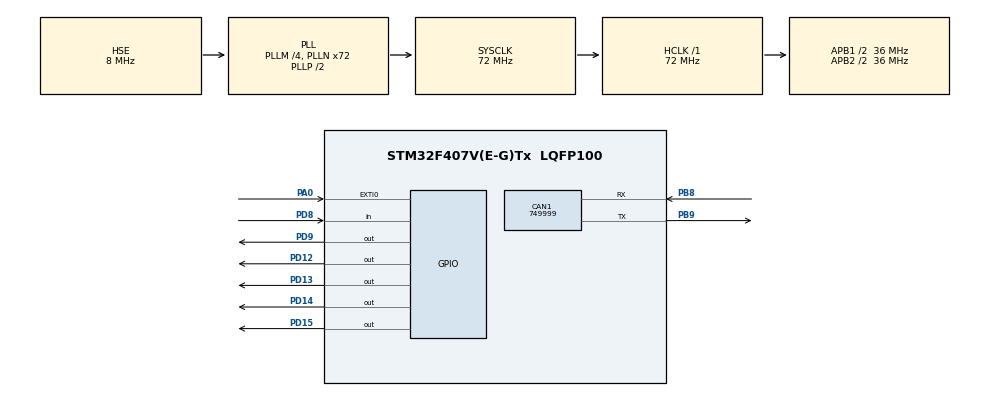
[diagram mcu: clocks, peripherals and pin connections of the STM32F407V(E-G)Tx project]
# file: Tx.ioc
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CAN1.CalculateBaudRate=749999
CAN1.CalculateTimeBit=1333
CAN1.CalculateTimeQuantum=444.44444444444446
Mcu.Family=STM32F4
Mcu.Name=STM32F407V(E-G)Tx
Mcu.Package=LQFP100
NVIC.CAN1_RX0_IRQn=true\:0\:0\:false\:false\:true\:true\:true\:true
NVIC.EXTI0_IRQn=true\:0\:0\:false\:false\:true\:true\:true\:true
NVIC.PriorityGroup=NVIC_PRIORITYGROUP_0
PA0-WKUP.Signal=GPXTI0
PA13.Mode=Serial_Wire
PA13.Signal=SYS_JTMS-SWDIO
PA14.Mode=Serial_Wire
PA14.Signal=SYS_JTCK-SWCLK
PB8.Mode=CAN_Activate
PB8.Signal=CAN1_RX
PB9.Mode=CAN_Activate
PB9.Signal=CAN1_TX
PD12.Signal=GPIO_Output
PD13.Signal=GPIO_Output
PD14.Signal=GPIO_Output
PD15.Signal=GPIO_Output
PD8.Signal=GPIO_Input
PD9.Signal=GPIO_Output
PH0-OSC_IN.Mode=HSE-External-Oscillator
PH0-OSC_IN.Signal=RCC_OSC_IN
PH1-OSC_OUT.Mode=HSE-External-Oscillator
PH1-OSC_OUT.Signal=RCC_OSC_OUT
ProjectManager.HeapSize=0x200
ProjectManager.StackSize=0x400
ProjectManager.TargetToolchain=STM32CubeIDE
RCC.48MHZClocksFreq_Value=20571428.57142857
RCC.AHBFreq_Value=72000000
RCC.APB1CLKDivider=RCC_HCLK_DIV2
RCC.APB1Freq_Value=36000000
RCC.APB1TimFreq_Value=72000000
RCC.APB2CLKDivider=RCC_HCLK_DIV2
RCC.APB2Freq_Value=36000000
RCC.APB2TimFreq_Value=72000000
RCC.CortexFreq_Value=72000000
RCC.HCLKFreq_Value=72000000
RCC.HSE_VALUE=8000000
RCC.HSI_VALUE=16000000
RCC.LSE_VALUE=32768
RCC.PLLM=4
RCC.PLLN=72
RCC.PLLQ=7
RCC.PLLSourceVirtual=RCC_PLLSOURCE_HSE
RCC.SYSCLKFreq_VALUE=72000000
RCC.SYSCLKSource=RCC_SYSCLKSOURCE_PLLCLK
RCC.VCOOutputFreq_Value=144000000
VP_TIM1_VS_ClockSourceINT.Mode=Internal
board=STM32F407G-DISC1

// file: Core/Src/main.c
/* USER CODE BEGIN Header */
/**
  ******************************************************************************
  * @file           : main.c
  * @brief          : Main program body
  ******************************************************************************
  * @attention
  *
  * Copyright (c) 2023 STMicroelectronics.
  * All rights reserved.
  *
  * This software is licensed under terms that can be found in the LICENSE file
  * in the root directory of this software component.
  * If no LICENSE file comes with this software, it is provided AS-IS.
  *
  ******************************************************************************
  */
/* USER CODE END Header */
#include "main.h"

/* USER CODE BEGIN Includes */
#include <stdio.h>
/* USER CODE END Includes */

/* USER CODE BEGIN PTD */
#define usTIM	TIM1
/* USER CODE END PTD */

CAN_HandleTypeDef hcan1;

TIM_HandleTypeDef htim1;

void SystemClock_Config(void);
static void MX_GPIO_Init(void);
static void MX_CAN1_Init(void);
static void MX_TIM1_Init(void);

/* USER CODE BEGIN 0 */
int Switch_Flag = 0;
CAN_TxHeaderTypeDef TxHeader;
uint8_t TxData[2];
uint32_t TxMailBox;

uint32_t numTicks = 0;

const float SpeedofSound = 0.0343/2;
float distance;

void usDelay(uint32_t uSec)
{
	if(uSec < 2) uSec = 2;
	usTIM->ARR = uSec - 1; 	/*sets the value in the auto-reload register*/
	usTIM->EGR = 1; 			/*Re-initialises the timer*/
	usTIM->SR &= ~1; 		//Resets the flag
	usTIM->CR1 |= 1; 		//Enables the counter
	while((usTIM->SR&0x0001) != 1);
	usTIM->SR &= ~(0x0001);
}

HC_SR04_Read()
{
	//Set TRIG to LOW for few uSec
	HAL_GPIO_WritePin(GPIOD, GPIO_PIN_9, GPIO_PIN_RESET);
	usDelay(3);

	//*** START Ultrasonic measure routine ***//
	//1. Output 10 usec TRIG
	HAL_GPIO_WritePin(GPIOD, GPIO_PIN_9, GPIO_PIN_SET);
	usDelay(10);
	HAL_GPIO_WritePin(GPIOD, GPIO_PIN_9, GPIO_PIN_RESET);

	//2. Wait for ECHO pin rising edge
	while(HAL_GPIO_ReadPin(GPIOD, GPIO_PIN_8) == GPIO_PIN_RESET);

	//3. Start measuring ECHO pulse width in usec
	numTicks = 0;
	while(HAL_GPIO_ReadPin(GPIOD, GPIO_PIN_8) == GPIO_PIN_SET)
	{
		numTicks++;
		usDelay(2); //2.8usec
	};

	distance = (numTicks + 0.0f)*2.8*SpeedofSound;
}

void HAL_GPIO_EXTI_Callback(uint16_t GPIO_Pin){
	Switch_Flag = 1;
	HAL_GPIO_WritePin(GPIOD, GPIO_PIN_14, GPIO_PIN_SET);
//	HAL_Delay(1000);
//	HAL_GPIO_WritePin(GPIOD, GPIO_PIN_14, GPIO_PIN_RESET);
//	Switch_Flag = 0;
}

/* USER CODE END 0 */

int main(void)
{

  /* MCU Configuration--------------------------------------------------------*/

  /* Reset of all peripherals, Initializes the Flash interface and the Systick. */
  HAL_Init();

  /* Configure the system clock */
  SystemClock_Config();

  /* Initialize all configured peripherals */
  MX_GPIO_Init();
  MX_CAN1_Init();
  MX_TIM1_Init();
  /* USER CODE BEGIN 2 */
  HAL_CAN_Start(&hcan1);
  HAL_CAN_ActivateNotification(&hcan1, CAN_IT_RX_FIFO0_MSG_PENDING);
  HAL_Delay(100);
  HAL_Delay(100);

  TxHeader.DLC=4;
  TxHeader.RTR=CAN_RTR_DATA;
  TxHeader.IDE=CAN_ID_STD;
  TxHeader.ExtId=0x0;
  TxHeader.StdId=0x0AA;
  TxHeader.TransmitGlobalTime=DISABLE;
  /* USER CODE END 2 */

  /* Infinite loop */
  /* USER CODE BEGIN WHILE */
  while (1)
  {
	  	  	  if(Switch_Flag == 1){
	  	  		TxData[0] = distance;	//yellow
	  	  		if (HAL_CAN_AddTxMessage(&hcan1, &TxHeader, TxData, &TxMailBox) != HAL_OK)
	  	  			Error_Handler();
	  	  		HAL_GPIO_WritePin(GPIOD, GPIO_PIN_12, GPIO_PIN_SET);
	  	  		}
    /* USER CODE END WHILE */

  }
}

void SystemClock_Config(void)
{
  RCC_OscInitTypeDef RCC_OscInitStruct = {0};
  RCC_ClkInitTypeDef RCC_ClkInitStruct = {0};

  /** Configure the main internal regulator output voltage
  */
  __HAL_RCC_PWR_CLK_ENABLE();
  __HAL_PWR_VOLTAGESCALING_CONFIG(PWR_REGULATOR_VOLTAGE_SCALE1);

  /** Initializes the RCC Oscillators according to the specified parameters
  * in the RCC_OscInitTypeDef structure.
  */
  RCC_OscInitStruct.OscillatorType = RCC_OSCILLATORTYPE_HSE;
  RCC_OscInitStruct.HSEState = RCC_HSE_ON;
  RCC_OscInitStruct.PLL.PLLState = RCC_PLL_ON;
  RCC_OscInitStruct.PLL.PLLSource = RCC_PLLSOURCE_HSE;
  RCC_OscInitStruct.PLL.PLLM = 4;
  RCC_OscInitStruct.PLL.PLLN = 72;
  RCC_OscInitStruct.PLL.PLLP = RCC_PLLP_DIV2;
  RCC_OscInitStruct.PLL.PLLQ = 7;
  if (HAL_RCC_OscConfig(&RCC_OscInitStruct) != HAL_OK)
  {
    Error_Handler();
  }

  /** Initializes the CPU, AHB and APB buses clocks
  */
  RCC_ClkInitStruct.ClockType = RCC_CLOCKTYPE_HCLK|RCC_CLOCKTYPE_SYSCLK
                              |RCC_CLOCKTYPE_PCLK1|RCC_CLOCKTYPE_PCLK2;
  RCC_ClkInitStruct.SYSCLKSource = RCC_SYSCLKSOURCE_PLLCLK;
  RCC_ClkInitStruct.AHBCLKDivider = RCC_SYSCLK_DIV1;
  RCC_ClkInitStruct.APB1CLKDivider = RCC_HCLK_DIV2;
  RCC_ClkInitStruct.APB2CLKDivider = RCC_HCLK_DIV2;

  if (HAL_RCC_ClockConfig(&RCC_ClkInitStruct, FLASH_LATENCY_2) != HAL_OK)
  {
    Error_Handler();
  }
}

static void MX_CAN1_Init(void)
{

  hcan1.Instance = CAN1;
  hcan1.Init.Prescaler = 16;
  hcan1.Init.Mode = CAN_MODE_NORMAL;
  hcan1.Init.SyncJumpWidth = CAN_SJW_1TQ;
  hcan1.Init.TimeSeg1 = CAN_BS1_1TQ;
  hcan1.Init.TimeSeg2 = CAN_BS2_1TQ;
  hcan1.Init.TimeTriggeredMode = DISABLE;
  hcan1.Init.AutoBusOff = DISABLE;
  hcan1.Init.AutoWakeUp = DISABLE;
  hcan1.Init.AutoRetransmission = DISABLE;
  hcan1.Init.ReceiveFifoLocked = DISABLE;
  hcan1.Init.TransmitFifoPriority = DISABLE;
  if (HAL_CAN_Init(&hcan1) != HAL_OK)
  {
    Error_Handler();
  }
  /* USER CODE BEGIN CAN1_Init 2 */
  CAN_FilterTypeDef canFilterConfig;
   canFilterConfig.FilterActivation=CAN_FILTER_ENABLE;
   canFilterConfig.SlaveStartFilterBank=14;
   canFilterConfig.FilterBank=2;
   canFilterConfig.FilterFIFOAssignment=CAN_RX_FIFO0;
   canFilterConfig.FilterScale=CAN_FILTERSCALE_32BIT;
   canFilterConfig.FilterMode=CAN_FILTERMODE_IDMASK;
   canFilterConfig.FilterMaskIdLow=0x0000;
   canFilterConfig.FilterMaskIdHigh=0xFF00;
   canFilterConfig.FilterIdLow=0x0000;
   canFilterConfig.FilterIdHigh=0x1500;
   HAL_CAN_ConfigFilter(&hcan1, &canFilterConfig);
  /* USER CODE END CAN1_Init 2 */

}

static void MX_TIM1_Init(void)
{

  TIM_ClockConfigTypeDef sClockSourceConfig = {0};
  TIM_MasterConfigTypeDef sMasterConfig = {0};

  htim1.Instance = TIM1;
  htim1.Init.Prescaler = 0;
  htim1.Init.CounterMode = TIM_COUNTERMODE_UP;
  htim1.Init.Period = 65535;
  htim1.Init.ClockDivision = TIM_CLOCKDIVISION_DIV1;
  htim1.Init.RepetitionCounter = 0;
  htim1.Init.AutoReloadPreload = TIM_AUTORELOAD_PRELOAD_DISABLE;
  if (HAL_TIM_Base_Init(&htim1) != HAL_OK)
  {
    Error_Handler();
  }
  sClockSourceConfig.ClockSource = TIM_CLOCKSOURCE_INTERNAL;
  if (HAL_TIM_ConfigClockSource(&htim1, &sClockSourceConfig) != HAL_OK)
  {
    Error_Handler();
  }
  sMasterConfig.MasterOutputTrigger = TIM_TRGO_RESET;
  sMasterConfig.MasterSlaveMode = TIM_MASTERSLAVEMODE_DISABLE;
  if (HAL_TIMEx_MasterConfigSynchronization(&htim1, &sMasterConfig) != HAL_OK)
  {
    Error_Handler();
  }

}

static void MX_GPIO_Init(void)
{
  GPIO_InitTypeDef GPIO_InitStruct = {0};

  /* GPIO Ports Clock Enable */
  __HAL_RCC_GPIOH_CLK_ENABLE();
  __HAL_RCC_GPIOA_CLK_ENABLE();
  __HAL_RCC_GPIOD_CLK_ENABLE();
  __HAL_RCC_GPIOB_CLK_ENABLE();

  /*Configure GPIO pin Output Level */
  HAL_GPIO_WritePin(GPIOD, GPIO_PIN_9|GPIO_PIN_12|GPIO_PIN_13|GPIO_PIN_14
                          |GPIO_PIN_15, GPIO_PIN_RESET);

  /*Configure GPIO pin : PA0 */
  GPIO_InitStruct.Pin = GPIO_PIN_0;
  GPIO_InitStruct.Mode = GPIO_MODE_IT_RISING;
  GPIO_InitStruct.Pull = GPIO_NOPULL;
  HAL_GPIO_Init(GPIOA, &GPIO_InitStruct);

  /*Configure GPIO pin : PD8 */
  GPIO_InitStruct.Pin = GPIO_PIN_8;
  GPIO_InitStruct.Mode = GPIO_MODE_INPUT;
  GPIO_InitStruct.Pull = GPIO_NOPULL;
  HAL_GPIO_Init(GPIOD, &GPIO_InitStruct);

  /*Configure GPIO pins : PD9 PD12 PD13 PD14
                           PD15 */
  GPIO_InitStruct.Pin = GPIO_PIN_9|GPIO_PIN_12|GPIO_PIN_13|GPIO_PIN_14
                          |GPIO_PIN_15;
  GPIO_InitStruct.Mode = GPIO_MODE_OUTPUT_PP;
  GPIO_InitStruct.Pull = GPIO_NOPULL;
  GPIO_InitStruct.Speed = GPIO_SPEED_FREQ_LOW;
  HAL_GPIO_Init(GPIOD, &GPIO_InitStruct);

  /* EXTI interrupt init*/
  HAL_NVIC_SetPriority(EXTI0_IRQn, 0, 0);
  HAL_NVIC_EnableIRQ(EXTI0_IRQn);

}

/* USER CODE BEGIN 4 */
void HAL_CAN_TxMailbox0CompleteCallback(CAN_HandleTypeDef *hcan)
{
	HAL_GPIO_WritePin(GPIOD, GPIO_PIN_15, GPIO_PIN_SET);
}

/* USER CODE END 4 */

void Error_Handler(void)
{
  __disable_irq();
  while (1)
  {
  }
}
